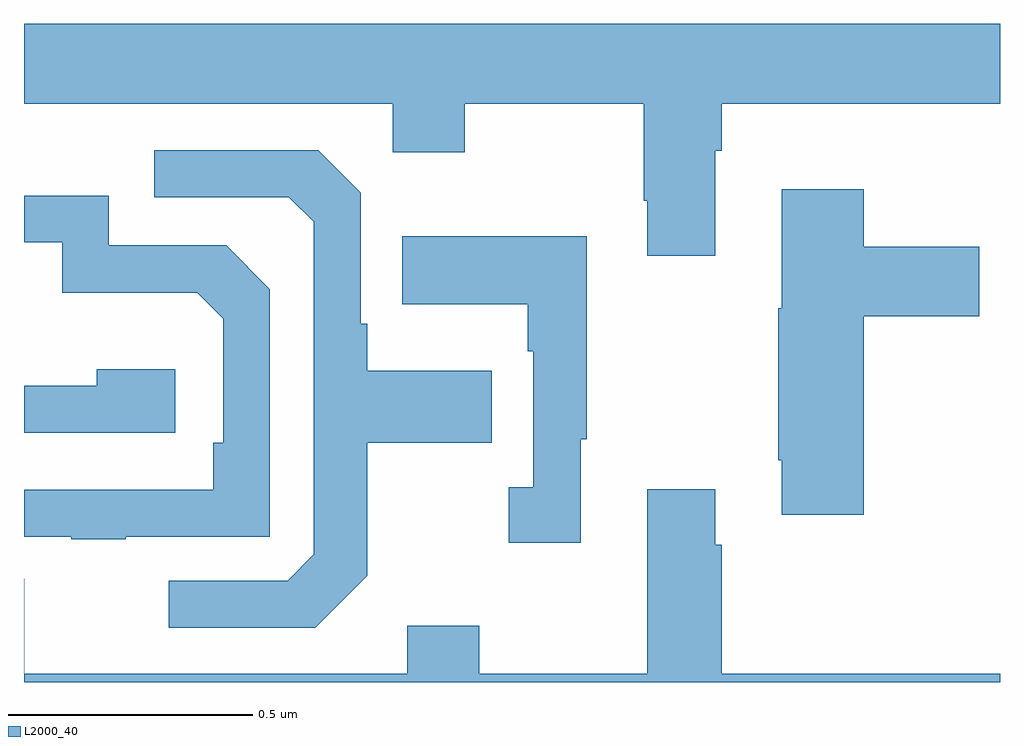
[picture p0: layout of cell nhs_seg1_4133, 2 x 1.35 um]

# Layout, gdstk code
import gdstk
lib = gdstk.Library(unit=1e-6, precision=1e-09)
def P(c, l, *ps):  # polygons
    for p in ps: c.add(gdstk.Polygon(p, *l))
L2000_40 = (2000, 40)

nhs_seg1_4133 = lib.new_cell('nhs_seg1_4133')
P(nhs_seg1_4133, L2000_40, [(163.417,566.288),(163.43,566.288),(163.43,566.384),(164,566.384),(164,566.548),(162,566.548),(162,566.384),(162.756,566.384),(162.756,566.285),(162.903,566.285),(162.903,566.384),(163.27,566.384),(163.27,566.185),(163.277,566.185),(163.277,566.073),(163.417,566.073)],
  [(162.703,565.417),(162.703,565.69),(162.959,565.69),(162.959,565.837),(162.703,565.837),(162.703,565.933),(162.69,565.933),(162.69,566.202),(162.603,566.289),(162.267,566.289),(162.267,566.193),(162.543,566.193),(162.594,566.142),(162.594,565.461),(162.54,565.407),(162.297,565.407),(162.297,565.311),(162.597,565.311)],
  [(163.721,565.949),(163.957,565.949),(163.957,566.091),(163.721,566.091),(163.721,566.209),(163.553,566.209),(163.553,565.965),(163.546,565.965),(163.546,565.654),(163.553,565.654),(163.553,565.542),(163.721,565.542)],
  [(162.209,565.497),(162.504,565.497),(162.504,566.004),(162.414,566.094),(162.174,566.094),(162.174,566.196),(162,566.196),(162,566.1),(162.078,566.1),(162.078,565.997),(162.355,565.997),(162.408,565.944),(162.408,565.69),(162.388,565.69),(162.388,565.593),(162,565.593),(162,565.497),(162.097,565.497),(162.097,565.492),(162.209,565.492)],
  [(163.141,565.697),(163.153,565.697),(163.153,566.113),(162.775,566.113),(162.775,565.973),(163.032,565.973),(163.032,565.877),(163.044,565.877),(163.044,565.598),(162.993,565.598),(162.993,565.485),(163.141,565.485)],
  [(162.31,565.84),(162.149,565.84),(162.149,565.806),(162,565.806),(162,565.71),(162.31,565.71)],
  [(164,565.216),(163.43,565.216),(163.43,565.481),(163.417,565.481),(163.417,565.594),(163.277,565.594),(163.277,565.216),(162.933,565.216),(162.933,565.315),(162.785,565.315),(162.785,565.216),(162.001,565.216),(162.001,565.411),(162,565.411),(162,565.199),(164,565.199)])

lib.write_gds('nhs_seg1_4133.gds')
